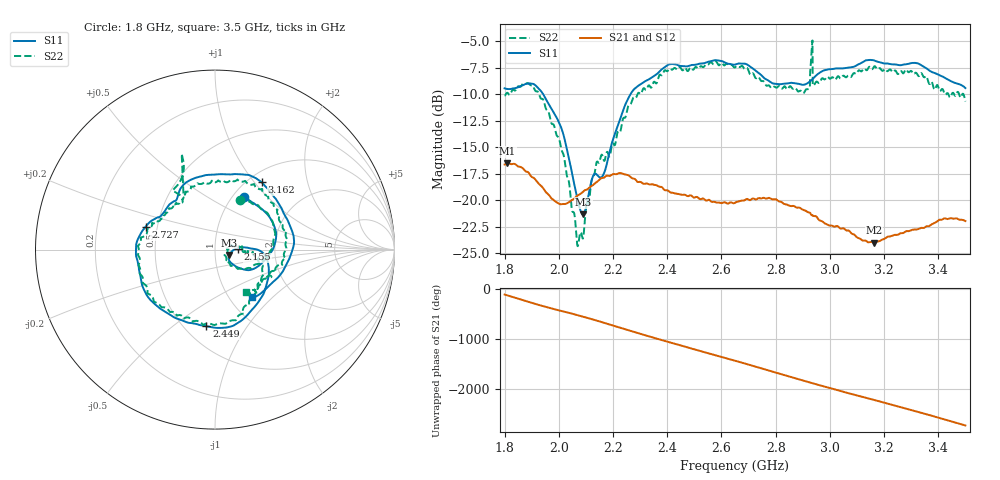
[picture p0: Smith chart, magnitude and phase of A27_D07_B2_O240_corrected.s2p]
! Created with skrf 1.9.0 (http://scikit-rf.org).
# Hz S RI R 50.0
!freq ReS11 ImS11 ReS21 ImS21 ReS12 ImS12 ReS22 ImS22
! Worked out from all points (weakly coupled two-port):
!   1601 points, 1.8 GHz to 3.5 GHz, reference 50 ohm
!   highest |S21| = -16.53 dB at 1.811 GHz (marker M1); lowest = -24.0 dB at 3.163 GHz (marker M2)
!   lowest |S11| = -21.3 dB at 2.09 GHz (marker M3), VSWR 1.19, Z = 58.6 - j3.6 ohm
!   |S11| at or under -10 dB: 1.942 GHz to 2.264 GHz (322.1 MHz wide, 15.3 % of centre)
!   |S22| runs from -24.3 to -4.9 dB; largest |S21 - S12| = 0.0027
!   S11 on the Smith chart (normalised r, x): 1.8 GHz: 1.12, +0.75; 2.155 GHz: 1.29, +0.00; 2.449 GHz: 0.64, -0.67; 2.727 GHz: 0.43, +0.13; 3.162 GHz: 1.15, +1.09; 3.5 GHz: 1.27, -0.76
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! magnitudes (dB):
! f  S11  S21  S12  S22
! 1.8 GHz  -9.5  -16.6  -16.6  -10.1
! 1.811 GHz  -9.5  -16.5  -16.5  -9.9
! 1.882 GHz  -9.0  -17.3  -17.3  -9.0
! 1.942 GHz  -10.0  -18.9  -18.9  -10.5
! 2.011 GHz  -13.3  -20.4  -20.4  -15.4
! 2.067 GHz  -19.6  -19.6  -19.6  -23.9
! 2.084 GHz  -21.2  -19.3  -19.3  -23.2
! 2.09 GHz  -21.3  -19.2  -19.2  -23.5
! 2.127 GHz  -17.7  -18.5  -18.5  -17.9
! 2.155 GHz  -17.9  -17.9  -18.0  -15.9
! 2.261 GHz  -10.1  -17.7  -17.7  -11.0
! 2.367 GHz  -8.0  -18.7  -18.6  -8.5
! 2.449 GHz  -7.3  -19.5  -19.5  -7.5
! 2.65 GHz  -7.2  -20.2  -20.2  -7.5
! 2.727 GHz  -7.8  -19.9  -19.9  -8.5
! 2.901 GHz  -9.1  -20.9  -20.9  -9.9
! 2.934 GHz  -8.6  -21.4  -21.4  -5.5
! 2.945 GHz  -8.3  -21.5  -21.5  -9.0
! 3.162 GHz  -6.8  -24.0  -23.9  -7.4
! 3.163 GHz  -6.8  -24.0  -23.9  -7.4
! 3.217 GHz  -7.1  -23.4  -23.4  -7.7
! 3.5 GHz  -9.4  -22.0  -21.9  -10.7
